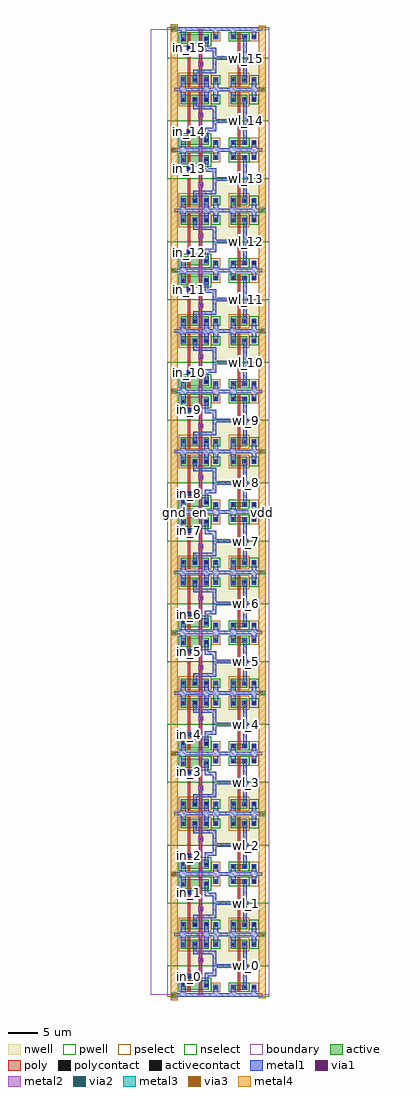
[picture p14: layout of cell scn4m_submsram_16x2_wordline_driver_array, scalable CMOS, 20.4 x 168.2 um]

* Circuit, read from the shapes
.subckt scn4m_submsram_16x2_wordline_driver_array en gnd in_0 in_1 in_10 in_11 in_12 in_13 in_14 in_15 in_2 in_3 in_4 in_5 in_6 in_7 in_8 in_9 vdd wl_0 wl_1 wl_10 wl_11 wl_12 wl_13 wl_14 wl_15 wl_2 wl_3 wl_4 wl_5 wl_6 wl_7 wl_8 wl_9
M1 scn4m_submsram_16x2_wordline_driver_0/scn4m_submsram_16x2_pnand2_0/scn4m_submsram_16x2_nmos_m1_w1_600_sm1_dactive_2/D in_0 gnd gnd nfet w=1.6u l=0.4u
M2 scn4m_submsram_16x2_wordline_driver_1/scn4m_submsram_16x2_pnand2_0/scn4m_submsram_16x2_nmos_m1_w1_600_sm1_dactive_2/D in_1 gnd gnd nfet w=1.6u l=0.4u
M3 scn4m_submsram_16x2_wordline_driver_2/scn4m_submsram_16x2_pnand2_0/scn4m_submsram_16x2_nmos_m1_w1_600_sm1_dactive_2/D in_2 gnd gnd nfet w=1.6u l=0.4u
M4 scn4m_submsram_16x2_wordline_driver_3/scn4m_submsram_16x2_pnand2_0/scn4m_submsram_16x2_nmos_m1_w1_600_sm1_dactive_2/D in_3 gnd gnd nfet w=1.6u l=0.4u
M5 scn4m_submsram_16x2_wordline_driver_4/scn4m_submsram_16x2_pnand2_0/scn4m_submsram_16x2_nmos_m1_w1_600_sm1_dactive_2/D in_4 gnd gnd nfet w=1.6u l=0.4u
M6 scn4m_submsram_16x2_wordline_driver_5/scn4m_submsram_16x2_pnand2_0/scn4m_submsram_16x2_nmos_m1_w1_600_sm1_dactive_2/D in_5 gnd gnd nfet w=1.6u l=0.4u
M7 scn4m_submsram_16x2_wordline_driver_6/scn4m_submsram_16x2_pnand2_0/scn4m_submsram_16x2_nmos_m1_w1_600_sm1_dactive_2/D in_6 gnd gnd nfet w=1.6u l=0.4u
M8 scn4m_submsram_16x2_wordline_driver_7/scn4m_submsram_16x2_pnand2_0/scn4m_submsram_16x2_nmos_m1_w1_600_sm1_dactive_2/D in_7 gnd gnd nfet w=1.6u l=0.4u
M9 scn4m_submsram_16x2_wordline_driver_8/scn4m_submsram_16x2_pnand2_0/scn4m_submsram_16x2_nmos_m1_w1_600_sm1_dactive_2/D in_8 gnd gnd nfet w=1.6u l=0.4u
M10 scn4m_submsram_16x2_wordline_driver_9/scn4m_submsram_16x2_pnand2_0/scn4m_submsram_16x2_nmos_m1_w1_600_sm1_dactive_2/D in_9 gnd gnd nfet w=1.6u l=0.4u
M11 scn4m_submsram_16x2_wordline_driver_10/scn4m_submsram_16x2_pnand2_0/scn4m_submsram_16x2_nmos_m1_w1_600_sm1_dactive_2/D in_10 gnd gnd nfet w=1.6u l=0.4u
M12 scn4m_submsram_16x2_wordline_driver_11/scn4m_submsram_16x2_pnand2_0/scn4m_submsram_16x2_nmos_m1_w1_600_sm1_dactive_2/D in_11 gnd gnd nfet w=1.6u l=0.4u
M13 scn4m_submsram_16x2_wordline_driver_12/scn4m_submsram_16x2_pnand2_0/scn4m_submsram_16x2_nmos_m1_w1_600_sm1_dactive_2/D in_12 gnd gnd nfet w=1.6u l=0.4u
M14 scn4m_submsram_16x2_wordline_driver_13/scn4m_submsram_16x2_pnand2_0/scn4m_submsram_16x2_nmos_m1_w1_600_sm1_dactive_2/D in_13 gnd gnd nfet w=1.6u l=0.4u
M15 scn4m_submsram_16x2_wordline_driver_14/scn4m_submsram_16x2_pnand2_0/scn4m_submsram_16x2_nmos_m1_w1_600_sm1_dactive_2/D in_14 gnd gnd nfet w=1.6u l=0.4u
M16 scn4m_submsram_16x2_wordline_driver_15/scn4m_submsram_16x2_pnand2_0/scn4m_submsram_16x2_nmos_m1_w1_600_sm1_dactive_2/D in_15 gnd gnd nfet w=1.6u l=0.4u
M17 scn4m_submsram_16x2_wordline_driver_0/scn4m_submsram_16x2_pinv_1/A en scn4m_submsram_16x2_wordline_driver_0/scn4m_submsram_16x2_pnand2_0/scn4m_submsram_16x2_nmos_m1_w1_600_sm1_dactive_2/D gnd nfet w=1.6u l=0.4u
M18 scn4m_submsram_16x2_wordline_driver_1/scn4m_submsram_16x2_pinv_1/A en scn4m_submsram_16x2_wordline_driver_1/scn4m_submsram_16x2_pnand2_0/scn4m_submsram_16x2_nmos_m1_w1_600_sm1_dactive_2/D gnd nfet w=1.6u l=0.4u
M19 scn4m_submsram_16x2_wordline_driver_2/scn4m_submsram_16x2_pinv_1/A en scn4m_submsram_16x2_wordline_driver_2/scn4m_submsram_16x2_pnand2_0/scn4m_submsram_16x2_nmos_m1_w1_600_sm1_dactive_2/D gnd nfet w=1.6u l=0.4u
M20 scn4m_submsram_16x2_wordline_driver_3/scn4m_submsram_16x2_pinv_1/A en scn4m_submsram_16x2_wordline_driver_3/scn4m_submsram_16x2_pnand2_0/scn4m_submsram_16x2_nmos_m1_w1_600_sm1_dactive_2/D gnd nfet w=1.6u l=0.4u
M21 scn4m_submsram_16x2_wordline_driver_4/scn4m_submsram_16x2_pinv_1/A en scn4m_submsram_16x2_wordline_driver_4/scn4m_submsram_16x2_pnand2_0/scn4m_submsram_16x2_nmos_m1_w1_600_sm1_dactive_2/D gnd nfet w=1.6u l=0.4u
M22 scn4m_submsram_16x2_wordline_driver_5/scn4m_submsram_16x2_pinv_1/A en scn4m_submsram_16x2_wordline_driver_5/scn4m_submsram_16x2_pnand2_0/scn4m_submsram_16x2_nmos_m1_w1_600_sm1_dactive_2/D gnd nfet w=1.6u l=0.4u
M23 scn4m_submsram_16x2_wordline_driver_6/scn4m_submsram_16x2_pinv_1/A en scn4m_submsram_16x2_wordline_driver_6/scn4m_submsram_16x2_pnand2_0/scn4m_submsram_16x2_nmos_m1_w1_600_sm1_dactive_2/D gnd nfet w=1.6u l=0.4u
M24 scn4m_submsram_16x2_wordline_driver_7/scn4m_submsram_16x2_pinv_1/A en scn4m_submsram_16x2_wordline_driver_7/scn4m_submsram_16x2_pnand2_0/scn4m_submsram_16x2_nmos_m1_w1_600_sm1_dactive_2/D gnd nfet w=1.6u l=0.4u
M25 scn4m_submsram_16x2_wordline_driver_8/scn4m_submsram_16x2_pinv_1/A en scn4m_submsram_16x2_wordline_driver_8/scn4m_submsram_16x2_pnand2_0/scn4m_submsram_16x2_nmos_m1_w1_600_sm1_dactive_2/D gnd nfet w=1.6u l=0.4u
M26 scn4m_submsram_16x2_wordline_driver_9/scn4m_submsram_16x2_pinv_1/A en scn4m_submsram_16x2_wordline_driver_9/scn4m_submsram_16x2_pnand2_0/scn4m_submsram_16x2_nmos_m1_w1_600_sm1_dactive_2/D gnd nfet w=1.6u l=0.4u
M27 scn4m_submsram_16x2_wordline_driver_10/scn4m_submsram_16x2_pinv_1/A en scn4m_submsram_16x2_wordline_driver_10/scn4m_submsram_16x2_pnand2_0/scn4m_submsram_16x2_nmos_m1_w1_600_sm1_dactive_2/D gnd nfet w=1.6u l=0.4u
M28 scn4m_submsram_16x2_wordline_driver_11/scn4m_submsram_16x2_pinv_1/A en scn4m_submsram_16x2_wordline_driver_11/scn4m_submsram_16x2_pnand2_0/scn4m_submsram_16x2_nmos_m1_w1_600_sm1_dactive_2/D gnd nfet w=1.6u l=0.4u
M29 scn4m_submsram_16x2_wordline_driver_12/scn4m_submsram_16x2_pinv_1/A en scn4m_submsram_16x2_wordline_driver_12/scn4m_submsram_16x2_pnand2_0/scn4m_submsram_16x2_nmos_m1_w1_600_sm1_dactive_2/D gnd nfet w=1.6u l=0.4u
M30 scn4m_submsram_16x2_wordline_driver_13/scn4m_submsram_16x2_pinv_1/A en scn4m_submsram_16x2_wordline_driver_13/scn4m_submsram_16x2_pnand2_0/scn4m_submsram_16x2_nmos_m1_w1_600_sm1_dactive_2/D gnd nfet w=1.6u l=0.4u
M31 scn4m_submsram_16x2_wordline_driver_14/scn4m_submsram_16x2_pinv_1/A en scn4m_submsram_16x2_wordline_driver_14/scn4m_submsram_16x2_pnand2_0/scn4m_submsram_16x2_nmos_m1_w1_600_sm1_dactive_2/D gnd nfet w=1.6u l=0.4u
M32 scn4m_submsram_16x2_wordline_driver_15/scn4m_submsram_16x2_pinv_1/A en scn4m_submsram_16x2_wordline_driver_15/scn4m_submsram_16x2_pnand2_0/scn4m_submsram_16x2_nmos_m1_w1_600_sm1_dactive_2/D gnd nfet w=1.6u l=0.4u
M33 wl_0 scn4m_submsram_16x2_wordline_driver_0/scn4m_submsram_16x2_pinv_1/A gnd gnd nfet w=0.8u l=0.4u
M34 wl_1 scn4m_submsram_16x2_wordline_driver_1/scn4m_submsram_16x2_pinv_1/A gnd gnd nfet w=0.8u l=0.4u
M35 wl_2 scn4m_submsram_16x2_wordline_driver_2/scn4m_submsram_16x2_pinv_1/A gnd gnd nfet w=0.8u l=0.4u
M36 wl_3 scn4m_submsram_16x2_wordline_driver_3/scn4m_submsram_16x2_pinv_1/A gnd gnd nfet w=0.8u l=0.4u
M37 wl_4 scn4m_submsram_16x2_wordline_driver_4/scn4m_submsram_16x2_pinv_1/A gnd gnd nfet w=0.8u l=0.4u
M38 wl_5 scn4m_submsram_16x2_wordline_driver_5/scn4m_submsram_16x2_pinv_1/A gnd gnd nfet w=0.8u l=0.4u
M39 wl_6 scn4m_submsram_16x2_wordline_driver_6/scn4m_submsram_16x2_pinv_1/A gnd gnd nfet w=0.8u l=0.4u
M40 wl_7 scn4m_submsram_16x2_wordline_driver_7/scn4m_submsram_16x2_pinv_1/A gnd gnd nfet w=0.8u l=0.4u
M41 wl_8 scn4m_submsram_16x2_wordline_driver_8/scn4m_submsram_16x2_pinv_1/A gnd gnd nfet w=0.8u l=0.4u
M42 wl_9 scn4m_submsram_16x2_wordline_driver_9/scn4m_submsram_16x2_pinv_1/A gnd gnd nfet w=0.8u l=0.4u
M43 wl_10 scn4m_submsram_16x2_wordline_driver_10/scn4m_submsram_16x2_pinv_1/A gnd gnd nfet w=0.8u l=0.4u
M44 wl_11 scn4m_submsram_16x2_wordline_driver_11/scn4m_submsram_16x2_pinv_1/A gnd gnd nfet w=0.8u l=0.4u
M45 wl_12 scn4m_submsram_16x2_wordline_driver_12/scn4m_submsram_16x2_pinv_1/A gnd gnd nfet w=0.8u l=0.4u
M46 wl_13 scn4m_submsram_16x2_wordline_driver_13/scn4m_submsram_16x2_pinv_1/A gnd gnd nfet w=0.8u l=0.4u
M47 wl_14 scn4m_submsram_16x2_wordline_driver_14/scn4m_submsram_16x2_pinv_1/A gnd gnd nfet w=0.8u l=0.4u
M48 wl_15 scn4m_submsram_16x2_wordline_driver_15/scn4m_submsram_16x2_pinv_1/A gnd gnd nfet w=0.8u l=0.4u
M49 scn4m_submsram_16x2_wordline_driver_0/scn4m_submsram_16x2_pinv_1/A in_0 vdd vdd pfet w=1.6u l=0.4u
M50 scn4m_submsram_16x2_wordline_driver_1/scn4m_submsram_16x2_pinv_1/A in_1 vdd vdd pfet w=1.6u l=0.4u
M51 scn4m_submsram_16x2_wordline_driver_2/scn4m_submsram_16x2_pinv_1/A in_2 vdd vdd pfet w=1.6u l=0.4u
M52 scn4m_submsram_16x2_wordline_driver_3/scn4m_submsram_16x2_pinv_1/A in_3 vdd vdd pfet w=1.6u l=0.4u
M53 scn4m_submsram_16x2_wordline_driver_4/scn4m_submsram_16x2_pinv_1/A in_4 vdd vdd pfet w=1.6u l=0.4u
M54 scn4m_submsram_16x2_wordline_driver_5/scn4m_submsram_16x2_pinv_1/A in_5 vdd vdd pfet w=1.6u l=0.4u
M55 scn4m_submsram_16x2_wordline_driver_6/scn4m_submsram_16x2_pinv_1/A in_6 vdd vdd pfet w=1.6u l=0.4u
M56 scn4m_submsram_16x2_wordline_driver_7/scn4m_submsram_16x2_pinv_1/A in_7 vdd vdd pfet w=1.6u l=0.4u
M57 scn4m_submsram_16x2_wordline_driver_8/scn4m_submsram_16x2_pinv_1/A in_8 vdd vdd pfet w=1.6u l=0.4u
M58 scn4m_submsram_16x2_wordline_driver_9/scn4m_submsram_16x2_pinv_1/A in_9 vdd vdd pfet w=1.6u l=0.4u
M59 scn4m_submsram_16x2_wordline_driver_10/scn4m_submsram_16x2_pinv_1/A in_10 vdd vdd pfet w=1.6u l=0.4u
M60 scn4m_submsram_16x2_wordline_driver_11/scn4m_submsram_16x2_pinv_1/A in_11 vdd vdd pfet w=1.6u l=0.4u
M61 scn4m_submsram_16x2_wordline_driver_12/scn4m_submsram_16x2_pinv_1/A in_12 vdd vdd pfet w=1.6u l=0.4u
M62 scn4m_submsram_16x2_wordline_driver_13/scn4m_submsram_16x2_pinv_1/A in_13 vdd vdd pfet w=1.6u l=0.4u
M63 scn4m_submsram_16x2_wordline_driver_14/scn4m_submsram_16x2_pinv_1/A in_14 vdd vdd pfet w=1.6u l=0.4u
M64 scn4m_submsram_16x2_wordline_driver_15/scn4m_submsram_16x2_pinv_1/A in_15 vdd vdd pfet w=1.6u l=0.4u
M65 vdd en scn4m_submsram_16x2_wordline_driver_0/scn4m_submsram_16x2_pinv_1/A vdd pfet w=1.6u l=0.4u
M66 vdd en scn4m_submsram_16x2_wordline_driver_1/scn4m_submsram_16x2_pinv_1/A vdd pfet w=1.6u l=0.4u
M67 vdd en scn4m_submsram_16x2_wordline_driver_2/scn4m_submsram_16x2_pinv_1/A vdd pfet w=1.6u l=0.4u
M68 vdd en scn4m_submsram_16x2_wordline_driver_3/scn4m_submsram_16x2_pinv_1/A vdd pfet w=1.6u l=0.4u
M69 vdd en scn4m_submsram_16x2_wordline_driver_4/scn4m_submsram_16x2_pinv_1/A vdd pfet w=1.6u l=0.4u
M70 vdd en scn4m_submsram_16x2_wordline_driver_5/scn4m_submsram_16x2_pinv_1/A vdd pfet w=1.6u l=0.4u
M71 vdd en scn4m_submsram_16x2_wordline_driver_6/scn4m_submsram_16x2_pinv_1/A vdd pfet w=1.6u l=0.4u
M72 vdd en scn4m_submsram_16x2_wordline_driver_7/scn4m_submsram_16x2_pinv_1/A vdd pfet w=1.6u l=0.4u
M73 vdd en scn4m_submsram_16x2_wordline_driver_8/scn4m_submsram_16x2_pinv_1/A vdd pfet w=1.6u l=0.4u
M74 vdd en scn4m_submsram_16x2_wordline_driver_9/scn4m_submsram_16x2_pinv_1/A vdd pfet w=1.6u l=0.4u
M75 vdd en scn4m_submsram_16x2_wordline_driver_10/scn4m_submsram_16x2_pinv_1/A vdd pfet w=1.6u l=0.4u
M76 vdd en scn4m_submsram_16x2_wordline_driver_11/scn4m_submsram_16x2_pinv_1/A vdd pfet w=1.6u l=0.4u
M77 vdd en scn4m_submsram_16x2_wordline_driver_12/scn4m_submsram_16x2_pinv_1/A vdd pfet w=1.6u l=0.4u
M78 vdd en scn4m_submsram_16x2_wordline_driver_13/scn4m_submsram_16x2_pinv_1/A vdd pfet w=1.6u l=0.4u
M79 vdd en scn4m_submsram_16x2_wordline_driver_14/scn4m_submsram_16x2_pinv_1/A vdd pfet w=1.6u l=0.4u
M80 vdd en scn4m_submsram_16x2_wordline_driver_15/scn4m_submsram_16x2_pinv_1/A vdd pfet w=1.6u l=0.4u
M81 wl_0 scn4m_submsram_16x2_wordline_driver_0/scn4m_submsram_16x2_pinv_1/A vdd vdd pfet w=1.6u l=0.4u
M82 wl_1 scn4m_submsram_16x2_wordline_driver_1/scn4m_submsram_16x2_pinv_1/A vdd vdd pfet w=1.6u l=0.4u
M83 wl_2 scn4m_submsram_16x2_wordline_driver_2/scn4m_submsram_16x2_pinv_1/A vdd vdd pfet w=1.6u l=0.4u
M84 wl_3 scn4m_submsram_16x2_wordline_driver_3/scn4m_submsram_16x2_pinv_1/A vdd vdd pfet w=1.6u l=0.4u
M85 wl_4 scn4m_submsram_16x2_wordline_driver_4/scn4m_submsram_16x2_pinv_1/A vdd vdd pfet w=1.6u l=0.4u
M86 wl_5 scn4m_submsram_16x2_wordline_driver_5/scn4m_submsram_16x2_pinv_1/A vdd vdd pfet w=1.6u l=0.4u
M87 wl_6 scn4m_submsram_16x2_wordline_driver_6/scn4m_submsram_16x2_pinv_1/A vdd vdd pfet w=1.6u l=0.4u
M88 wl_7 scn4m_submsram_16x2_wordline_driver_7/scn4m_submsram_16x2_pinv_1/A vdd vdd pfet w=1.6u l=0.4u
M89 wl_8 scn4m_submsram_16x2_wordline_driver_8/scn4m_submsram_16x2_pinv_1/A vdd vdd pfet w=1.6u l=0.4u
M90 wl_9 scn4m_submsram_16x2_wordline_driver_9/scn4m_submsram_16x2_pinv_1/A vdd vdd pfet w=1.6u l=0.4u
M91 wl_10 scn4m_submsram_16x2_wordline_driver_10/scn4m_submsram_16x2_pinv_1/A vdd vdd pfet w=1.6u l=0.4u
M92 wl_11 scn4m_submsram_16x2_wordline_driver_11/scn4m_submsram_16x2_pinv_1/A vdd vdd pfet w=1.6u l=0.4u
M93 wl_12 scn4m_submsram_16x2_wordline_driver_12/scn4m_submsram_16x2_pinv_1/A vdd vdd pfet w=1.6u l=0.4u
M94 wl_13 scn4m_submsram_16x2_wordline_driver_13/scn4m_submsram_16x2_pinv_1/A vdd vdd pfet w=1.6u l=0.4u
M95 wl_14 scn4m_submsram_16x2_wordline_driver_14/scn4m_submsram_16x2_pinv_1/A vdd vdd pfet w=1.6u l=0.4u
M96 wl_15 scn4m_submsram_16x2_wordline_driver_15/scn4m_submsram_16x2_pinv_1/A vdd vdd pfet w=1.6u l=0.4u
.ends

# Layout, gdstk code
import gdstk
lib = gdstk.Library(unit=1e-6, precision=1e-09)
def R(c, l, rs):  # rectangles x0, y0, x1, y1
    for r in rs: c.add(gdstk.rectangle(r[:2], r[2:], *l))
via3 = (30, 0)
metal4 = (31, 0)
pwell = (41, 0)
nwell = (42, 0)
active = (43, 0)
pselect = (44, 0)
nselect = (45, 0)
poly = (46, 0)
polycontact = (47, 0)
activecontact = (48, 0)
metal1 = (49, 0)
via1 = (50, 0)
metal2 = (51, 0)
via2 = (61, 0)
metal3 = (62, 0)
boundary = (63, 0)

scn4m_submsram_16x2_cont = lib.new_cell('scn4m_submsram_16x2_contact_12')
R(scn4m_submsram_16x2_cont, nwell, [(-1.2,-1.2,2,2)])
R(scn4m_submsram_16x2_cont, active, [(0,0,0.8,0.8)])
R(scn4m_submsram_16x2_cont, pselect, [(-0.4,-0.4,1.2,1.2)])
R(scn4m_submsram_16x2_cont, activecontact, [(0.2,0.2,0.6,0.6)])
R(scn4m_submsram_16x2_cont, metal1, [(0,0,0.8,0.8)])
R(scn4m_submsram_16x2_cont, boundary, [(-1.2,-1.2,2,2)])

scn4m_submsram_16x2_pmos = lib.new_cell('scn4m_submsram_16x2_pmos_m1_w1_600_sm1_dm1')
R(scn4m_submsram_16x2_pmos, nwell, [(-1.2,-1.2,4,2.8)])
R(scn4m_submsram_16x2_pmos, active, [(0,0,2.8,1.6)])
R(scn4m_submsram_16x2_pmos, pselect, [(-0.4,-0.4,3.2,2)])
R(scn4m_submsram_16x2_pmos, poly, [(1.2,-0.4,1.6,2), (1.2,-0.4,1.6,2)])
R(scn4m_submsram_16x2_pmos, metal1, [(0,0.4,0.8,1.2), (2,0.4,2.8,1.2)])
R(scn4m_submsram_16x2_pmos, boundary, [(-1.2,-1.2,4,2.8)])
scn4m_submsram_16x2_pmos.add(gdstk.Reference(scn4m_submsram_16x2_cont, (0,0.4)))
scn4m_submsram_16x2_pmos.add(gdstk.Reference(scn4m_submsram_16x2_cont, (2,0.4)))
scn4m_submsram_16x2_pmos.add(gdstk.Label('G', (1.4,0.8), layer=46, texttype=0))
scn4m_submsram_16x2_pmos.add(gdstk.Label('S', (0.4,0.8), layer=49, texttype=0))
scn4m_submsram_16x2_pmos.add(gdstk.Label('D', (2.4,0.8), layer=49, texttype=0))

c_scn4m_submsram_16x2_cont = lib.new_cell('scn4m_submsram_16x2_contact_11')
R(c_scn4m_submsram_16x2_cont, pwell, [(-1.2,-1.2,2,2)])
R(c_scn4m_submsram_16x2_cont, active, [(0,0,0.8,0.8)])
R(c_scn4m_submsram_16x2_cont, nselect, [(-0.4,-0.4,1.2,1.2)])
R(c_scn4m_submsram_16x2_cont, activecontact, [(0.2,0.2,0.6,0.6)])
R(c_scn4m_submsram_16x2_cont, metal1, [(0,0,0.8,0.8)])
R(c_scn4m_submsram_16x2_cont, boundary, [(-1.2,-1.2,2,2)])

scn4m_submsram_16x2_nmos = lib.new_cell('scn4m_submsram_16x2_nmos_m1_w1_600_sm1_dactive')
R(scn4m_submsram_16x2_nmos, pwell, [(-1.2,-1.2,4,2.8)])
R(scn4m_submsram_16x2_nmos, active, [(0,0,2.8,1.6), (2.1,0.5,2.7,1.1)])
R(scn4m_submsram_16x2_nmos, nselect, [(-0.4,-0.4,3.2,2)])
R(scn4m_submsram_16x2_nmos, poly, [(1.2,-0.4,1.6,2), (1.2,-0.4,1.6,2)])
R(scn4m_submsram_16x2_nmos, metal1, [(0,0.4,0.8,1.2)])
R(scn4m_submsram_16x2_nmos, boundary, [(-1.2,-1.2,4,2.8)])
scn4m_submsram_16x2_nmos.add(gdstk.Reference(c_scn4m_submsram_16x2_cont, (0,0.4)))
scn4m_submsram_16x2_nmos.add(gdstk.Label('G', (1.4,0.8), layer=46, texttype=0))
scn4m_submsram_16x2_nmos.add(gdstk.Label('S', (0.4,0.8), layer=49, texttype=0))
scn4m_submsram_16x2_nmos.add(gdstk.Label('D', (2.4,0.8), layer=43, texttype=0))

c_scn4m_submsram_16x2_nmos = lib.new_cell('scn4m_submsram_16x2_nmos_m1_w1_600_sactive_dm1')
R(c_scn4m_submsram_16x2_nmos, pwell, [(-1.2,-1.2,4,2.8)])
R(c_scn4m_submsram_16x2_nmos, active, [(0,0,2.8,1.6), (0.1,0.5,0.7,1.1)])
R(c_scn4m_submsram_16x2_nmos, nselect, [(-0.4,-0.4,3.2,2)])
R(c_scn4m_submsram_16x2_nmos, poly, [(1.2,-0.4,1.6,2), (1.2,-0.4,1.6,2)])
R(c_scn4m_submsram_16x2_nmos, metal1, [(2,0.4,2.8,1.2)])
R(c_scn4m_submsram_16x2_nmos, boundary, [(-1.2,-1.2,4,2.8)])
c_scn4m_submsram_16x2_nmos.add(gdstk.Reference(c_scn4m_submsram_16x2_cont, (2,0.4)))
c_scn4m_submsram_16x2_nmos.add(gdstk.Label('G', (1.4,0.8), layer=46, texttype=0))
c_scn4m_submsram_16x2_nmos.add(gdstk.Label('S', (0.4,0.8), layer=43, texttype=0))
c_scn4m_submsram_16x2_nmos.add(gdstk.Label('D', (2.4,0.8), layer=49, texttype=0))

c_scn4m_submsram_16x2_cont_ = lib.new_cell('scn4m_submsram_16x2_contact_13')
R(c_scn4m_submsram_16x2_cont_, nwell, [(-1.2,-1.2,2,2)])
R(c_scn4m_submsram_16x2_cont_, active, [(0,0,0.8,0.8)])
R(c_scn4m_submsram_16x2_cont_, nselect, [(-0.4,-0.4,1.2,1.2)])
R(c_scn4m_submsram_16x2_cont_, activecontact, [(0.2,0.2,0.6,0.6)])
R(c_scn4m_submsram_16x2_cont_, metal1, [(0,0,0.8,0.8)])
R(c_scn4m_submsram_16x2_cont_, boundary, [(-1.2,-1.2,2,2)])

c_scn4m_submsram_16x2_cont__ = lib.new_cell('scn4m_submsram_16x2_contact_14')
R(c_scn4m_submsram_16x2_cont__, pwell, [(-1.2,-1.2,2,2)])
R(c_scn4m_submsram_16x2_cont__, active, [(0,0,0.8,0.8)])
R(c_scn4m_submsram_16x2_cont__, pselect, [(-0.4,-0.4,1.2,1.2)])
R(c_scn4m_submsram_16x2_cont__, activecontact, [(0.2,0.2,0.6,0.6)])
R(c_scn4m_submsram_16x2_cont__, metal1, [(0,0,0.8,0.8)])
R(c_scn4m_submsram_16x2_cont__, boundary, [(-1.2,-1.2,2,2)])

c_scn4m_submsram_16x2_cont___ = lib.new_cell('scn4m_submsram_16x2_contact_15')
R(c_scn4m_submsram_16x2_cont___, poly, [(0,0,0.8,0.8)])
R(c_scn4m_submsram_16x2_cont___, polycontact, [(0.2,0.2,0.6,0.6)])
R(c_scn4m_submsram_16x2_cont___, metal1, [(0,0,0.8,0.8)])
R(c_scn4m_submsram_16x2_cont___, boundary, [(0,0,0.8,0.8)])

scn4m_submsram_16x2_pnan = lib.new_cell('scn4m_submsram_16x2_pnand2')
R(scn4m_submsram_16x2_pnan, pwell, [(-1.2,-0.3,9.8,5)])
R(scn4m_submsram_16x2_pnan, nwell, [(-1.2,5,9.8,11.9)])
R(scn4m_submsram_16x2_pnan, poly, [(2.4,2.8,2.6,3.6), (2.4,2.9,2.8,7.5), (4.4,2.9,4.8,7.5), (4.4,5.6,4.6,6.4)])
R(scn4m_submsram_16x2_pnan, metal1, [(0,-0.3,8.6,0.3), (1.2,-0.3,2,1.3), (6.8,0,7.6,1.3), (5.3,2.1,5.9,3.5), (2.2,2.8,3,3.6), (5.3,3.2,5.9,3.8), (5.6,3.2,7,3.8), (6.7,3.2,7.3,3.8), (6.7,3.5,7.3,7.3), (4.2,5.6,5,6.4), (3.3,7,3.9,7.6), (3.6,7,7,7.6), (6.7,7,7.3,7.6), (3.3,7.3,3.9,8.3), (1.2,8.3,2,10.7), (5.2,8.3,6,10.7), (6.8,8.7,7.6,10.4), (0,10.1,8.6,10.7)])
R(scn4m_submsram_16x2_pnan, boundary, [(0,0,8.6,10.4), (0,0,8.6,10.4)])
scn4m_submsram_16x2_pnan.add(gdstk.Reference(scn4m_submsram_16x2_pmos, (1.2,7.9)))
scn4m_submsram_16x2_pnan.add(gdstk.Reference(scn4m_submsram_16x2_pmos, (3.2,7.9)))
scn4m_submsram_16x2_pnan.add(gdstk.Reference(scn4m_submsram_16x2_nmos, (1.2,0.9)))
scn4m_submsram_16x2_pnan.add(gdstk.Reference(c_scn4m_submsram_16x2_nmos, (3.2,0.9)))
scn4m_submsram_16x2_pnan.add(gdstk.Reference(c_scn4m_submsram_16x2_cont_, (6.8,8.3)))
scn4m_submsram_16x2_pnan.add(gdstk.Reference(c_scn4m_submsram_16x2_cont__, (6.8,0.9)))
scn4m_submsram_16x2_pnan.add(gdstk.Reference(c_scn4m_submsram_16x2_cont___, (2.2,2.8)))
scn4m_submsram_16x2_pnan.add(gdstk.Reference(c_scn4m_submsram_16x2_cont___, (4.2,5.6)))
scn4m_submsram_16x2_pnan.add(gdstk.Label('Z', (7,7.3), layer=49, texttype=0))
scn4m_submsram_16x2_pnan.add(gdstk.Label('gnd', (4.3,0), layer=49, texttype=0))
scn4m_submsram_16x2_pnan.add(gdstk.Label('vdd', (4.3,10.4), layer=49, texttype=0))
scn4m_submsram_16x2_pnan.add(gdstk.Label('A', (2.6,3.2), layer=49, texttype=0))
scn4m_submsram_16x2_pnan.add(gdstk.Label('B', (4.6,6), layer=49, texttype=0))

c_scn4m_submsram_16x2_pmos = lib.new_cell('scn4m_submsram_16x2_pmos_m1_w1_600_sm1_dm1_da_p')
R(c_scn4m_submsram_16x2_pmos, nwell, [(-1.2,-1.2,4,2.8)])
R(c_scn4m_submsram_16x2_pmos, active, [(0,0,2.8,1.6)])
R(c_scn4m_submsram_16x2_pmos, pselect, [(-0.4,-0.4,3.2,2)])
R(c_scn4m_submsram_16x2_pmos, poly, [(1.2,-0.4,1.6,2), (1.2,-0.4,1.6,2)])
R(c_scn4m_submsram_16x2_pmos, metal1, [(0,0.4,0.8,1.2), (2,0.4,2.8,1.2)])
R(c_scn4m_submsram_16x2_pmos, boundary, [(-1.2,-1.2,4,2.8)])
c_scn4m_submsram_16x2_pmos.add(gdstk.Reference(scn4m_submsram_16x2_cont, (0,0.4)))
c_scn4m_submsram_16x2_pmos.add(gdstk.Reference(scn4m_submsram_16x2_cont, (2,0.4)))
c_scn4m_submsram_16x2_pmos.add(gdstk.Label('G', (1.4,0.8), layer=46, texttype=0))
c_scn4m_submsram_16x2_pmos.add(gdstk.Label('S', (0.4,0.8), layer=49, texttype=0))
c_scn4m_submsram_16x2_pmos.add(gdstk.Label('D', (2.4,0.8), layer=49, texttype=0))

c_scn4m_submsram_16x2_nmos_ = lib.new_cell('scn4m_submsram_16x2_nmos_m1_w0_800_sm1_dm1_da_p')
R(c_scn4m_submsram_16x2_nmos_, pwell, [(-1.2,-1.2,4,2)])
R(c_scn4m_submsram_16x2_nmos_, active, [(0,0,2.8,0.8)])
R(c_scn4m_submsram_16x2_nmos_, nselect, [(-0.4,-0.4,3.2,1.2)])
R(c_scn4m_submsram_16x2_nmos_, poly, [(1.2,-0.4,1.6,1.2), (1.2,-0.4,1.6,1.2)])
R(c_scn4m_submsram_16x2_nmos_, metal1, [(0,0,0.8,0.8), (2,0,2.8,0.8)])
R(c_scn4m_submsram_16x2_nmos_, boundary, [(-1.2,-1.2,4,2)])
c_scn4m_submsram_16x2_nmos_.add(gdstk.Reference(c_scn4m_submsram_16x2_cont, (0,0)))
c_scn4m_submsram_16x2_nmos_.add(gdstk.Reference(c_scn4m_submsram_16x2_cont, (2,0)))
c_scn4m_submsram_16x2_nmos_.add(gdstk.Label('G', (1.4,0.4), layer=46, texttype=0))
c_scn4m_submsram_16x2_nmos_.add(gdstk.Label('S', (0.4,0.4), layer=49, texttype=0))
c_scn4m_submsram_16x2_nmos_.add(gdstk.Label('D', (2.4,0.4), layer=49, texttype=0))

scn4m_submsram_16x2_pinv = lib.new_cell('scn4m_submsram_16x2_pinv')
R(scn4m_submsram_16x2_pinv, pwell, [(-1.2,-0.3,7.8,5)])
R(scn4m_submsram_16x2_pinv, nwell, [(-1.2,5,7.8,11.9)])
R(scn4m_submsram_16x2_pinv, poly, [(2.4,2.1,2.8,7.5), (2,4.6,2.4,5.4)])
R(scn4m_submsram_16x2_pinv, metal1, [(0,-0.3,6.6,0.3), (1.2,-0.3,2,0.9), (4.8,0,5.6,1.3), (3.3,0.9,3.9,9.1), (1.6,4.6,2.4,5.4), (3.6,4.7,4.2,5.3), (1.2,8.3,2,10.7), (4.8,8.7,5.6,10.4), (0,10.1,6.6,10.7)])
R(scn4m_submsram_16x2_pinv, boundary, [(0,0,6.6,10.4), (0,0,6.6,10.4)])
scn4m_submsram_16x2_pinv.add(gdstk.Reference(c_scn4m_submsram_16x2_pmos, (1.2,7.9)))
scn4m_submsram_16x2_pinv.add(gdstk.Reference(c_scn4m_submsram_16x2_nmos_, (1.2,0.9)))
scn4m_submsram_16x2_pinv.add(gdstk.Reference(c_scn4m_submsram_16x2_cont_, (4.8,8.3)))
scn4m_submsram_16x2_pinv.add(gdstk.Reference(c_scn4m_submsram_16x2_cont__, (4.8,0.9)))
scn4m_submsram_16x2_pinv.add(gdstk.Reference(c_scn4m_submsram_16x2_cont___, (1.6,4.6)))
scn4m_submsram_16x2_pinv.add(gdstk.Label('A', (2,5), layer=49, texttype=0))
scn4m_submsram_16x2_pinv.add(gdstk.Label('Z', (3.9,5), layer=49, texttype=0))
scn4m_submsram_16x2_pinv.add(gdstk.Label('gnd', (3.3,0), layer=49, texttype=0))
scn4m_submsram_16x2_pinv.add(gdstk.Label('vdd', (3.3,10.4), layer=49, texttype=0))

scn4m_submsram_16x2_word = lib.new_cell('scn4m_submsram_16x2_wordline_driver')
R(scn4m_submsram_16x2_word, metal1, [(0,-0.3,15.2,0.3), (2.2,2.8,3,3.6), (6.7,4.7,7.3,5.3), (7,4.7,10.6,5.3), (12.2,4.7,12.8,5.3), (6.7,5,7.3,7.3), (4.2,5.6,5,6.4), (0,10.1,15.2,10.7)])
R(scn4m_submsram_16x2_word, boundary, [(0,0,15.2,10.4)])
scn4m_submsram_16x2_word.add(gdstk.Reference(scn4m_submsram_16x2_pnan, (0,0)))
scn4m_submsram_16x2_word.add(gdstk.Reference(scn4m_submsram_16x2_pinv, (8.6,0)))
scn4m_submsram_16x2_word.add(gdstk.Label('Z', (12.5,5), layer=49, texttype=0))
scn4m_submsram_16x2_word.add(gdstk.Label('A', (2.6,3.2), layer=49, texttype=0))
scn4m_submsram_16x2_word.add(gdstk.Label('B', (4.6,6), layer=49, texttype=0))
scn4m_submsram_16x2_word.add(gdstk.Label('gnd', (7.6,0), layer=49, texttype=0))
scn4m_submsram_16x2_word.add(gdstk.Label('vdd', (7.6,10.4), layer=49, texttype=0))

c_scn4m_submsram_16x2_cont____ = lib.new_cell('scn4m_submsram_16x2_contact_18')
R(c_scn4m_submsram_16x2_cont____, metal1, [(0,0,0.8,0.8)])
R(c_scn4m_submsram_16x2_cont____, via1, [(0.2,0.2,0.6,0.6)])
R(c_scn4m_submsram_16x2_cont____, metal2, [(0,0,0.8,0.8)])
R(c_scn4m_submsram_16x2_cont____, boundary, [(0,0,0.8,0.8)])

c_scn4m_submsram_16x2_cont_____ = lib.new_cell('scn4m_submsram_16x2_contact_19')
R(c_scn4m_submsram_16x2_cont_____, metal2, [(0,0,0.8,0.8)])
R(c_scn4m_submsram_16x2_cont_____, via2, [(0.2,0.2,0.6,0.6)])
R(c_scn4m_submsram_16x2_cont_____, metal3, [(0,0,0.8,0.8)])
R(c_scn4m_submsram_16x2_cont_____, boundary, [(0,0,0.8,0.8)])

c_scn4m_submsram_16x2_cont______ = lib.new_cell('scn4m_submsram_16x2_contact_22')
R(c_scn4m_submsram_16x2_cont______, via3, [(0.4,0.4,0.8,0.8)])
R(c_scn4m_submsram_16x2_cont______, metal4, [(0,0,1.2,1.2)])
R(c_scn4m_submsram_16x2_cont______, metal3, [(0.2,0.2,1,1)])
R(c_scn4m_submsram_16x2_cont______, boundary, [(0,0,1.2,1.2)])

c_scn4m_submsram_16x2_word = lib.new_cell('scn4m_submsram_16x2_wordline_driver_array')
R(c_scn4m_submsram_16x2_word, metal4, [(3.4,-0.9,4.6,167.3), (18.6,-0.6,19.8,167)])
R(c_scn4m_submsram_16x2_word, metal1, [(6.2,2.8,7,3.6), (16.2,4.7,16.8,5.3), (16.2,15.5,16.8,16.1), (6.2,17.2,7,18), (6.2,23.6,7,24.4), (16.2,25.5,16.8,26.1), (16.2,36.3,16.8,36.9), (6.2,38,7,38.8), (6.2,44.4,7,45.2), (16.2,46.3,16.8,46.9), (16.2,57.1,16.8,57.7), (6.2,58.8,7,59.6), (6.2,65.2,7,66), (16.2,67.1,16.8,67.7), (16.2,77.9,16.8,78.5), (6.2,79.6,7,80.4), (6.2,86,7,86.8), (16.2,87.9,16.8,88.5), (16.2,98.7,16.8,99.3), (6.2,100.4,7,101.2), (6.2,106.8,7,107.6), (16.2,108.7,16.8,109.3), (16.2,119.5,16.8,120.1), (6.2,121.2,7,122), (6.2,127.6,7,128.4), (16.2,129.5,16.8,130.1), (16.2,140.3,16.8,140.9), (6.2,142,7,142.8), (6.2,148.4,7,149.2), (16.2,150.3,16.8,150.9), (16.2,161.1,16.8,161.7), (6.2,162.8,7,163.6)])
R(c_scn4m_submsram_16x2_word, metal2, [(8.3,0,8.9,166.4)])
R(c_scn4m_submsram_16x2_word, boundary, [(0,0,20.4,166.4)])
c_scn4m_submsram_16x2_word.add(gdstk.Reference(scn4m_submsram_16x2_word, (4,0)))
c_scn4m_submsram_16x2_word.add(gdstk.Reference(scn4m_submsram_16x2_word, (4,20.8), x_reflection=True))
c_scn4m_submsram_16x2_word.add(gdstk.Reference(scn4m_submsram_16x2_word, (4,20.8)))
c_scn4m_submsram_16x2_word.add(gdstk.Reference(scn4m_submsram_16x2_word, (4,41.6), x_reflection=True))
c_scn4m_submsram_16x2_word.add(gdstk.Reference(scn4m_submsram_16x2_word, (4,41.6)))
c_scn4m_submsram_16x2_word.add(gdstk.Reference(scn4m_submsram_16x2_word, (4,62.4), x_reflection=True))
c_scn4m_submsram_16x2_word.add(gdstk.Reference(scn4m_submsram_16x2_word, (4,62.4)))
c_scn4m_submsram_16x2_word.add(gdstk.Reference(scn4m_submsram_16x2_word, (4,83.2), x_reflection=True))
c_scn4m_submsram_16x2_word.add(gdstk.Reference(scn4m_submsram_16x2_word, (4,83.2)))
c_scn4m_submsram_16x2_word.add(gdstk.Reference(scn4m_submsram_16x2_word, (4,104), x_reflection=True))
c_scn4m_submsram_16x2_word.add(gdstk.Reference(scn4m_submsram_16x2_word, (4,104)))
c_scn4m_submsram_16x2_word.add(gdstk.Reference(scn4m_submsram_16x2_word, (4,124.8), x_reflection=True))
c_scn4m_submsram_16x2_word.add(gdstk.Reference(scn4m_submsram_16x2_word, (4,124.8)))
c_scn4m_submsram_16x2_word.add(gdstk.Reference(scn4m_submsram_16x2_word, (4,145.6), x_reflection=True))
c_scn4m_submsram_16x2_word.add(gdstk.Reference(scn4m_submsram_16x2_word, (4,145.6)))
c_scn4m_submsram_16x2_word.add(gdstk.Reference(scn4m_submsram_16x2_word, (4,166.4), x_reflection=True))
c_scn4m_submsram_16x2_word.add(gdstk.Reference(c_scn4m_submsram_16x2_cont____, (8.2,5.6)))
c_scn4m_submsram_16x2_word.add(gdstk.Reference(c_scn4m_submsram_16x2_cont____, (8.2,14.4)))
c_scn4m_submsram_16x2_word.add(gdstk.Reference(c_scn4m_submsram_16x2_cont____, (8.2,26.4)))
c_scn4m_submsram_16x2_word.add(gdstk.Reference(c_scn4m_submsram_16x2_cont____, (8.2,35.2)))
c_scn4m_submsram_16x2_word.add(gdstk.Reference(c_scn4m_submsram_16x2_cont____, (8.2,47.2)))
c_scn4m_submsram_16x2_word.add(gdstk.Reference(c_scn4m_submsram_16x2_cont____, (8.2,56)))
c_scn4m_submsram_16x2_word.add(gdstk.Reference(c_scn4m_submsram_16x2_cont____, (8.2,68)))
c_scn4m_submsram_16x2_word.add(gdstk.Reference(c_scn4m_submsram_16x2_cont____, (8.2,76.8)))
c_scn4m_submsram_16x2_word.add(gdstk.Reference(c_scn4m_submsram_16x2_cont____, (8.2,88.8)))
c_scn4m_submsram_16x2_word.add(gdstk.Reference(c_scn4m_submsram_16x2_cont____, (8.2,97.6)))
c_scn4m_submsram_16x2_word.add(gdstk.Reference(c_scn4m_submsram_16x2_cont____, (8.2,109.6)))
c_scn4m_submsram_16x2_word.add(gdstk.Reference(c_scn4m_submsram_16x2_cont____, (8.2,118.4)))
c_scn4m_submsram_16x2_word.add(gdstk.Reference(c_scn4m_submsram_16x2_cont____, (8.2,130.4)))
c_scn4m_submsram_16x2_word.add(gdstk.Reference(c_scn4m_submsram_16x2_cont____, (8.2,139.2)))
c_scn4m_submsram_16x2_word.add(gdstk.Reference(c_scn4m_submsram_16x2_cont____, (8.2,151.2)))
c_scn4m_submsram_16x2_word.add(gdstk.Reference(c_scn4m_submsram_16x2_cont____, (8.2,160)))
c_scn4m_submsram_16x2_word.add(gdstk.Reference(c_scn4m_submsram_16x2_cont____, (18.8,10)))
c_scn4m_submsram_16x2_word.add(gdstk.Reference(c_scn4m_submsram_16x2_cont_____, (18.8,10)))
c_scn4m_submsram_16x2_word.add(gdstk.Reference(c_scn4m_submsram_16x2_cont______, (18.6,9.8)))
c_scn4m_submsram_16x2_word.add(gdstk.Reference(c_scn4m_submsram_16x2_cont____, (18.8,10)))
c_scn4m_submsram_16x2_word.add(gdstk.Reference(c_scn4m_submsram_16x2_cont_____, (18.8,10)))
c_scn4m_submsram_16x2_word.add(gdstk.Reference(c_scn4m_submsram_16x2_cont______, (18.6,9.8)))
c_scn4m_submsram_16x2_word.add(gdstk.Reference(c_scn4m_submsram_16x2_cont____, (18.8,30.8)))
c_scn4m_submsram_16x2_word.add(gdstk.Reference(c_scn4m_submsram_16x2_cont_____, (18.8,30.8)))
c_scn4m_submsram_16x2_word.add(gdstk.Reference(c_scn4m_submsram_16x2_cont______, (18.6,30.6)))
c_scn4m_submsram_16x2_word.add(gdstk.Reference(c_scn4m_submsram_16x2_cont____, (18.8,30.8)))
c_scn4m_submsram_16x2_word.add(gdstk.Reference(c_scn4m_submsram_16x2_cont_____, (18.8,30.8)))
c_scn4m_submsram_16x2_word.add(gdstk.Reference(c_scn4m_submsram_16x2_cont______, (18.6,30.6)))
c_scn4m_submsram_16x2_word.add(gdstk.Reference(c_scn4m_submsram_16x2_cont____, (18.8,51.6)))
c_scn4m_submsram_16x2_word.add(gdstk.Reference(c_scn4m_submsram_16x2_cont_____, (18.8,51.6)))
c_scn4m_submsram_16x2_word.add(gdstk.Reference(c_scn4m_submsram_16x2_cont______, (18.6,51.4)))
c_scn4m_submsram_16x2_word.add(gdstk.Reference(c_scn4m_submsram_16x2_cont____, (18.8,51.6)))
c_scn4m_submsram_16x2_word.add(gdstk.Reference(c_scn4m_submsram_16x2_cont_____, (18.8,51.6)))
c_scn4m_submsram_16x2_word.add(gdstk.Reference(c_scn4m_submsram_16x2_cont______, (18.6,51.4)))
c_scn4m_submsram_16x2_word.add(gdstk.Reference(c_scn4m_submsram_16x2_cont____, (18.8,72.4)))
c_scn4m_submsram_16x2_word.add(gdstk.Reference(c_scn4m_submsram_16x2_cont_____, (18.8,72.4)))
c_scn4m_submsram_16x2_word.add(gdstk.Reference(c_scn4m_submsram_16x2_cont______, (18.6,72.2)))
c_scn4m_submsram_16x2_word.add(gdstk.Reference(c_scn4m_submsram_16x2_cont____, (18.8,72.4)))
c_scn4m_submsram_16x2_word.add(gdstk.Reference(c_scn4m_submsram_16x2_cont_____, (18.8,72.4)))
c_scn4m_submsram_16x2_word.add(gdstk.Reference(c_scn4m_submsram_16x2_cont______, (18.6,72.2)))
c_scn4m_submsram_16x2_word.add(gdstk.Reference(c_scn4m_submsram_16x2_cont____, (18.8,93.2)))
c_scn4m_submsram_16x2_word.add(gdstk.Reference(c_scn4m_submsram_16x2_cont_____, (18.8,93.2)))
c_scn4m_submsram_16x2_word.add(gdstk.Reference(c_scn4m_submsram_16x2_cont______, (18.6,93)))
c_scn4m_submsram_16x2_word.add(gdstk.Reference(c_scn4m_submsram_16x2_cont____, (18.8,93.2)))
c_scn4m_submsram_16x2_word.add(gdstk.Reference(c_scn4m_submsram_16x2_cont_____, (18.8,93.2)))
c_scn4m_submsram_16x2_word.add(gdstk.Reference(c_scn4m_submsram_16x2_cont______, (18.6,93)))
c_scn4m_submsram_16x2_word.add(gdstk.Reference(c_scn4m_submsram_16x2_cont____, (18.8,114)))
c_scn4m_submsram_16x2_word.add(gdstk.Reference(c_scn4m_submsram_16x2_cont_____, (18.8,114)))
c_scn4m_submsram_16x2_word.add(gdstk.Reference(c_scn4m_submsram_16x2_cont______, (18.6,113.8)))
c_scn4m_submsram_16x2_word.add(gdstk.Reference(c_scn4m_submsram_16x2_cont____, (18.8,114)))
c_scn4m_submsram_16x2_word.add(gdstk.Reference(c_scn4m_submsram_16x2_cont_____, (18.8,114)))
c_scn4m_submsram_16x2_word.add(gdstk.Reference(c_scn4m_submsram_16x2_cont______, (18.6,113.8)))
c_scn4m_submsram_16x2_word.add(gdstk.Reference(c_scn4m_submsram_16x2_cont____, (18.8,134.8)))
c_scn4m_submsram_16x2_word.add(gdstk.Reference(c_scn4m_submsram_16x2_cont_____, (18.8,134.8)))
c_scn4m_submsram_16x2_word.add(gdstk.Reference(c_scn4m_submsram_16x2_cont______, (18.6,134.6)))
c_scn4m_submsram_16x2_word.add(gdstk.Reference(c_scn4m_submsram_16x2_cont____, (18.8,134.8)))
c_scn4m_submsram_16x2_word.add(gdstk.Reference(c_scn4m_submsram_16x2_cont_____, (18.8,134.8)))
c_scn4m_submsram_16x2_word.add(gdstk.Reference(c_scn4m_submsram_16x2_cont______, (18.6,134.6)))
c_scn4m_submsram_16x2_word.add(gdstk.Reference(c_scn4m_submsram_16x2_cont____, (18.8,155.6)))
c_scn4m_submsram_16x2_word.add(gdstk.Reference(c_scn4m_submsram_16x2_cont_____, (18.8,155.6)))
c_scn4m_submsram_16x2_word.add(gdstk.Reference(c_scn4m_submsram_16x2_cont______, (18.6,155.4)))
c_scn4m_submsram_16x2_word.add(gdstk.Reference(c_scn4m_submsram_16x2_cont____, (18.8,155.6)))
c_scn4m_submsram_16x2_word.add(gdstk.Reference(c_scn4m_submsram_16x2_cont_____, (18.8,155.6)))
c_scn4m_submsram_16x2_word.add(gdstk.Reference(c_scn4m_submsram_16x2_cont______, (18.6,155.4)))
c_scn4m_submsram_16x2_word.add(gdstk.Reference(c_scn4m_submsram_16x2_cont____, (3.6,-0.4)))
c_scn4m_submsram_16x2_word.add(gdstk.Reference(c_scn4m_submsram_16x2_cont_____, (3.6,-0.4)))
c_scn4m_submsram_16x2_word.add(gdstk.Reference(c_scn4m_submsram_16x2_cont______, (3.4,-0.6)))
c_scn4m_submsram_16x2_word.add(gdstk.Reference(c_scn4m_submsram_16x2_cont____, (3.6,20.4)))
c_scn4m_submsram_16x2_word.add(gdstk.Reference(c_scn4m_submsram_16x2_cont_____, (3.6,20.4)))
c_scn4m_submsram_16x2_word.add(gdstk.Reference(c_scn4m_submsram_16x2_cont______, (3.4,20.2)))
c_scn4m_submsram_16x2_word.add(gdstk.Reference(c_scn4m_submsram_16x2_cont____, (3.6,20.4)))
c_scn4m_submsram_16x2_word.add(gdstk.Reference(c_scn4m_submsram_16x2_cont_____, (3.6,20.4)))
c_scn4m_submsram_16x2_word.add(gdstk.Reference(c_scn4m_submsram_16x2_cont______, (3.4,20.2)))
c_scn4m_submsram_16x2_word.add(gdstk.Reference(c_scn4m_submsram_16x2_cont____, (3.6,41.2)))
c_scn4m_submsram_16x2_word.add(gdstk.Reference(c_scn4m_submsram_16x2_cont_____, (3.6,41.2)))
c_scn4m_submsram_16x2_word.add(gdstk.Reference(c_scn4m_submsram_16x2_cont______, (3.4,41)))
c_scn4m_submsram_16x2_word.add(gdstk.Reference(c_scn4m_submsram_16x2_cont____, (3.6,41.2)))
c_scn4m_submsram_16x2_word.add(gdstk.Reference(c_scn4m_submsram_16x2_cont_____, (3.6,41.2)))
c_scn4m_submsram_16x2_word.add(gdstk.Reference(c_scn4m_submsram_16x2_cont______, (3.4,41)))
c_scn4m_submsram_16x2_word.add(gdstk.Reference(c_scn4m_submsram_16x2_cont____, (3.6,62)))
c_scn4m_submsram_16x2_word.add(gdstk.Reference(c_scn4m_submsram_16x2_cont_____, (3.6,62)))
c_scn4m_submsram_16x2_word.add(gdstk.Reference(c_scn4m_submsram_16x2_cont______, (3.4,61.8)))
c_scn4m_submsram_16x2_word.add(gdstk.Reference(c_scn4m_submsram_16x2_cont____, (3.6,62)))
c_scn4m_submsram_16x2_word.add(gdstk.Reference(c_scn4m_submsram_16x2_cont_____, (3.6,62)))
c_scn4m_submsram_16x2_word.add(gdstk.Reference(c_scn4m_submsram_16x2_cont______, (3.4,61.8)))
c_scn4m_submsram_16x2_word.add(gdstk.Reference(c_scn4m_submsram_16x2_cont____, (3.6,82.8)))
c_scn4m_submsram_16x2_word.add(gdstk.Reference(c_scn4m_submsram_16x2_cont_____, (3.6,82.8)))
c_scn4m_submsram_16x2_word.add(gdstk.Reference(c_scn4m_submsram_16x2_cont______, (3.4,82.6)))
c_scn4m_submsram_16x2_word.add(gdstk.Reference(c_scn4m_submsram_16x2_cont____, (3.6,82.8)))
c_scn4m_submsram_16x2_word.add(gdstk.Reference(c_scn4m_submsram_16x2_cont_____, (3.6,82.8)))
c_scn4m_submsram_16x2_word.add(gdstk.Reference(c_scn4m_submsram_16x2_cont______, (3.4,82.6)))
c_scn4m_submsram_16x2_word.add(gdstk.Reference(c_scn4m_submsram_16x2_cont____, (3.6,103.6)))
c_scn4m_submsram_16x2_word.add(gdstk.Reference(c_scn4m_submsram_16x2_cont_____, (3.6,103.6)))
c_scn4m_submsram_16x2_word.add(gdstk.Reference(c_scn4m_submsram_16x2_cont______, (3.4,103.4)))
c_scn4m_submsram_16x2_word.add(gdstk.Reference(c_scn4m_submsram_16x2_cont____, (3.6,103.6)))
c_scn4m_submsram_16x2_word.add(gdstk.Reference(c_scn4m_submsram_16x2_cont_____, (3.6,103.6)))
c_scn4m_submsram_16x2_word.add(gdstk.Reference(c_scn4m_submsram_16x2_cont______, (3.4,103.4)))
c_scn4m_submsram_16x2_word.add(gdstk.Reference(c_scn4m_submsram_16x2_cont____, (3.6,124.4)))
c_scn4m_submsram_16x2_word.add(gdstk.Reference(c_scn4m_submsram_16x2_cont_____, (3.6,124.4)))
c_scn4m_submsram_16x2_word.add(gdstk.Reference(c_scn4m_submsram_16x2_cont______, (3.4,124.2)))
c_scn4m_submsram_16x2_word.add(gdstk.Reference(c_scn4m_submsram_16x2_cont____, (3.6,124.4)))
c_scn4m_submsram_16x2_word.add(gdstk.Reference(c_scn4m_submsram_16x2_cont_____, (3.6,124.4)))
c_scn4m_submsram_16x2_word.add(gdstk.Reference(c_scn4m_submsram_16x2_cont______, (3.4,124.2)))
c_scn4m_submsram_16x2_word.add(gdstk.Reference(c_scn4m_submsram_16x2_cont____, (3.6,145.2)))
c_scn4m_submsram_16x2_word.add(gdstk.Reference(c_scn4m_submsram_16x2_cont_____, (3.6,145.2)))
c_scn4m_submsram_16x2_word.add(gdstk.Reference(c_scn4m_submsram_16x2_cont______, (3.4,145)))
c_scn4m_submsram_16x2_word.add(gdstk.Reference(c_scn4m_submsram_16x2_cont____, (3.6,145.2)))
c_scn4m_submsram_16x2_word.add(gdstk.Reference(c_scn4m_submsram_16x2_cont_____, (3.6,145.2)))
c_scn4m_submsram_16x2_word.add(gdstk.Reference(c_scn4m_submsram_16x2_cont______, (3.4,145)))
c_scn4m_submsram_16x2_word.add(gdstk.Reference(c_scn4m_submsram_16x2_cont____, (3.6,166)))
c_scn4m_submsram_16x2_word.add(gdstk.Reference(c_scn4m_submsram_16x2_cont_____, (3.6,166)))
c_scn4m_submsram_16x2_word.add(gdstk.Reference(c_scn4m_submsram_16x2_cont______, (3.4,165.8)))
c_scn4m_submsram_16x2_word.add(gdstk.Label('en', (8.6,83.2), layer=51, texttype=0))
c_scn4m_submsram_16x2_word.add(gdstk.Label('in_0', (6.6,3.2), layer=49, texttype=0))
c_scn4m_submsram_16x2_word.add(gdstk.Label('wl_0', (16.5,5), layer=49, texttype=0))
c_scn4m_submsram_16x2_word.add(gdstk.Label('in_1', (6.6,17.6), layer=49, texttype=0))
c_scn4m_submsram_16x2_word.add(gdstk.Label('wl_1', (16.5,15.8), layer=49, texttype=0))
c_scn4m_submsram_16x2_word.add(gdstk.Label('in_2', (6.6,24), layer=49, texttype=0))
c_scn4m_submsram_16x2_word.add(gdstk.Label('wl_2', (16.5,25.8), layer=49, texttype=0))
c_scn4m_submsram_16x2_word.add(gdstk.Label('in_3', (6.6,38.4), layer=49, texttype=0))
c_scn4m_submsram_16x2_word.add(gdstk.Label('wl_3', (16.5,36.6), layer=49, texttype=0))
c_scn4m_submsram_16x2_word.add(gdstk.Label('in_4', (6.6,44.8), layer=49, texttype=0))
c_scn4m_submsram_16x2_word.add(gdstk.Label('wl_4', (16.5,46.6), layer=49, texttype=0))
c_scn4m_submsram_16x2_word.add(gdstk.Label('in_5', (6.6,59.2), layer=49, texttype=0))
c_scn4m_submsram_16x2_word.add(gdstk.Label('wl_5', (16.5,57.4), layer=49, texttype=0))
c_scn4m_submsram_16x2_word.add(gdstk.Label('in_6', (6.6,65.6), layer=49, texttype=0))
c_scn4m_submsram_16x2_word.add(gdstk.Label('wl_6', (16.5,67.4), layer=49, texttype=0))
c_scn4m_submsram_16x2_word.add(gdstk.Label('in_7', (6.6,80), layer=49, texttype=0))
c_scn4m_submsram_16x2_word.add(gdstk.Label('wl_7', (16.5,78.2), layer=49, texttype=0))
c_scn4m_submsram_16x2_word.add(gdstk.Label('in_8', (6.6,86.4), layer=49, texttype=0))
c_scn4m_submsram_16x2_word.add(gdstk.Label('wl_8', (16.5,88.2), layer=49, texttype=0))
c_scn4m_submsram_16x2_word.add(gdstk.Label('in_9', (6.6,100.8), layer=49, texttype=0))
c_scn4m_submsram_16x2_word.add(gdstk.Label('wl_9', (16.5,99), layer=49, texttype=0))
c_scn4m_submsram_16x2_word.add(gdstk.Label('in_10', (6.6,107.2), layer=49, texttype=0))
c_scn4m_submsram_16x2_word.add(gdstk.Label('wl_10', (16.5,109), layer=49, texttype=0))
c_scn4m_submsram_16x2_word.add(gdstk.Label('in_11', (6.6,121.6), layer=49, texttype=0))
c_scn4m_submsram_16x2_word.add(gdstk.Label('wl_11', (16.5,119.8), layer=49, texttype=0))
c_scn4m_submsram_16x2_word.add(gdstk.Label('in_12', (6.6,128), layer=49, texttype=0))
c_scn4m_submsram_16x2_word.add(gdstk.Label('wl_12', (16.5,129.8), layer=49, texttype=0))
c_scn4m_submsram_16x2_word.add(gdstk.Label('in_13', (6.6,142.4), layer=49, texttype=0))
c_scn4m_submsram_16x2_word.add(gdstk.Label('wl_13', (16.5,140.6), layer=49, texttype=0))
c_scn4m_submsram_16x2_word.add(gdstk.Label('in_14', (6.6,148.8), layer=49, texttype=0))
c_scn4m_submsram_16x2_word.add(gdstk.Label('wl_14', (16.5,150.6), layer=49, texttype=0))
c_scn4m_submsram_16x2_word.add(gdstk.Label('in_15', (6.6,163.2), layer=49, texttype=0))
c_scn4m_submsram_16x2_word.add(gdstk.Label('wl_15', (16.5,161.4), layer=49, texttype=0))
c_scn4m_submsram_16x2_word.add(gdstk.Label('vdd', (19.2,83.2), layer=31, texttype=0))
c_scn4m_submsram_16x2_word.add(gdstk.Label('gnd', (4,83.2), layer=31, texttype=0))

lib.write_gds('scn4m_submsram_16x2_wordline_driver_array.gds')
